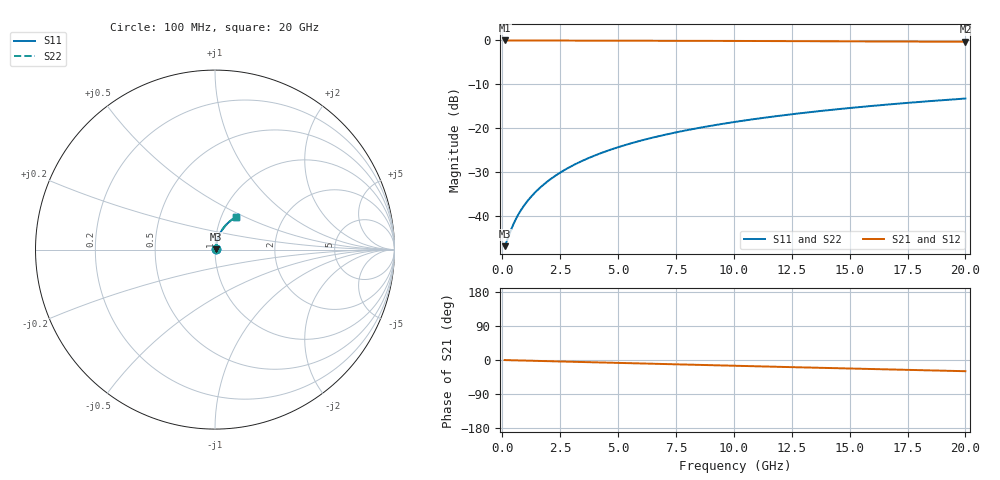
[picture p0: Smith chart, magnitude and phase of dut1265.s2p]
! Touchstone file exported from HFSS 2026.1.0
!  File:  C:/ffzhzh/LocalFiles/Ansys_Project_Files/temp_train_BSMRDL_1265_1783177575_51560.aedt
!  Generated:  11:07:28 PM Jul  4, 2026
!  Design:  BSMRDL
!  Project:  temp_train_BSMRDL_1265_1783177575_51560
! Variables:
!  h_bsmrdl = 3um
!  h_ox = 20um
!  h_rdl = 5um
!  h_sub = 80um
!  h_tmrdl = 5um
!  h_tsv = 80um
!  h_via = 3um
!  l_bsmrdl = 474.23um
!  l_sub = 874.23um
!  l_tmrdl = 200um
!  m_sub = 200um
!  pitch = 23.39um
!  r_tsv = 6um
!  s_tmrdl = 10um
!  w_bsmrdl = 13.22um
!  w_sub = 500um
!  w_tmrdl = 12um
!  x_tsv_center1 = 206um
!  x_tsv_center2 = 693.45um
!  x_tsv_center3 = 905.45um
!  x_tsv_center4 = 1392.9um
!  x_tsv_center5 = 1604.9um
!  x_tsv_center6 = 2092.35um
# GHz S MA R 50.000000
! Terminal data exported
! Port[1] = BSM_RDL1_1_T1
! Port[2] = BSM_RDL1_1_T2
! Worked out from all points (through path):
!   200 points, 100 MHz to 20 GHz, reference 50 ohm
!   highest |S21| = -0.04 dB at 100 MHz (marker M1); lowest = -0.3 dB at 20 GHz (marker M2)
!   group delay of S21, straight-line fit = 4.11 ps
!   lowest |S11| = -46.8 dB at 100 MHz (marker M3), VSWR 1.01, Z = 50.4 + j0.144 ohm
!   |S11| at or under -10 dB: start of sweep to end of sweep
!   |S22| runs from -46.8 to -13.2 dB; largest |S21 - S12| = 2.7e-15
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0.1  0.004596 18.1  0.9956 -0.2  0.9956 -0.2  0.004596 18.1
! Gamma 0 0 0 0
! Port Impedance 50 0 50 0
0.2  0.005295 32.3  0.9955 -0.3  0.9955 -0.3  0.005295 32.3
0.4  0.007289 48.8  0.9952 -0.7  0.9952 -0.7  0.007289 48.8
0.6  0.009487 57.1  0.995 -1.0  0.995 -1.0  0.009487 57.1
0.7  0.0106 60.0  0.9948 -1.1  0.9948 -1.1  0.0106 60.0
0.9  0.01284 64.1  0.9946 -1.4  0.9946 -1.4  0.01284 64.1
1.1  0.0151 67.1  0.9945 -1.7  0.9945 -1.7  0.0151 67.1
1.3  0.01738 69.3  0.9943 -2.0  0.9943 -2.0  0.01738 69.3
1.7  0.02202 72.3  0.9941 -2.6  0.9941 -2.6  0.02202 72.3
2.2  0.02789 74.4  0.9937 -3.4  0.9937 -3.4  0.02789 74.4
2.8  0.03501 75.6  0.9933 -4.3  0.9933 -4.3  0.03501 75.6
3.5  0.04333 76.2  0.9927 -5.4  0.9927 -5.4  0.04333 76.2
4.2  0.05164 76.1  0.992 -6.5  0.992 -6.5  0.05164 76.1
5  0.06108 75.7  0.9911 -7.7  0.9911 -7.7  0.06108 75.7
5.9  0.0716 75.0  0.99 -9.0  0.99 -9.0  0.0716 75.0
6.8  0.08201 74.0  0.9887 -10.4  0.9887 -10.4  0.082 74.0
8.3  0.09905 72.2  0.9863 -12.7  0.9863 -12.7  0.09904 72.2
10.1  0.119 69.9  0.9831 -15.3  0.9831 -15.3  0.119 69.9
11.7  0.1362 67.8  0.98 -17.7  0.98 -17.7  0.1362 67.8
13.4  0.154 65.5  0.9765 -20.2  0.9765 -20.2  0.154 65.5
16.7  0.187 61.1  0.9693 -24.9  0.9693 -24.9  0.187 61.1
20  0.2181 56.7  0.9616 -29.6  0.9616 -29.6  0.2181 56.7
